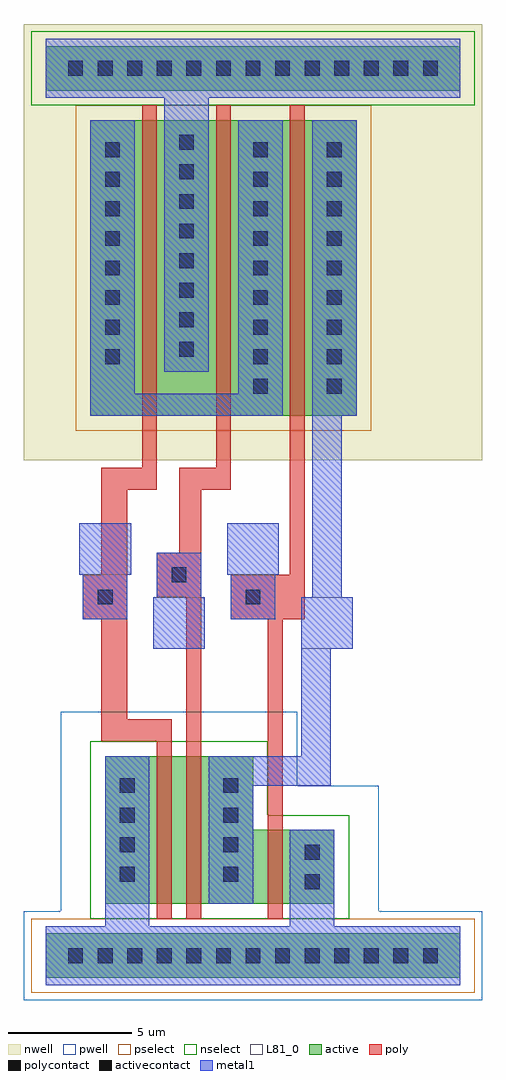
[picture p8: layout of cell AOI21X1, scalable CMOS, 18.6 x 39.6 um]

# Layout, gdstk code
import gdstk
lib = gdstk.Library(unit=1e-6, precision=1e-09)
def R(c, l, rs):  # rectangles x0, y0, x1, y1
    for r in rs: c.add(gdstk.rectangle(r[:2], r[2:], *l))
def A(c, l, x, y, w, h, nx, ny, dx, dy):  # array of equal rectangles
    R(c, l, [(x+i*dx, y+j*dy, x+i*dx+w, y+j*dy+h) for i in range(nx) for j in range(ny)])
pwell = (41, 0)
nwell = (42, 0)
active = (43, 0)
pselect = (44, 0)
nselect = (45, 0)
poly = (46, 0)
polycontact = (47, 0)
activecontact = (48, 0)
metal1 = (49, 0)
L81_0 = (81, 0)

aoi21x1 = lib.new_cell('AOI21X1')
R(aoi21x1, pwell, [(-1.8,-1.8,16.8,1.8), (-0.3,1.8,12.6,6.9), (-0.3,6.9,9.3,9.9)])
R(aoi21x1, nwell, [(-1.8,20.1,16.8,37.8)])
R(aoi21x1, active, [(-0.9,-0.9,15.9,0.9), (1.5,2.1,10.8,5.1), (1.5,5.1,7.5,8.1), (0.9,21.9,11.7,33.9), (-0.9,35.1,15.9,36.9)])
R(aoi21x1, pselect, [(-1.5,-1.5,16.5,1.5), (0.3,21.3,12.3,34.5)])
R(aoi21x1, nselect, [(0.9,1.5,11.4,5.7), (0.9,5.7,8.1,8.7), (-1.5,34.5,16.5,37.5)])
R(aoi21x1, poly, [(3.6,1.5,4.2,8.7), (4.8,1.5,5.4,14.55), (8.1,1.5,8.7,13.65), (1.35,8.7,4.2,9.6), (1.35,9.6,2.4,13.65), (0.6,13.65,2.4,15.45), (6.6,13.65,9.6,15.45), (3.6,14.55,5.4,16.35), (1.35,15.45,2.4,18.9), (9,15.45,9.6,34.5), (4.5,16.35,5.4,18.9), (1.35,18.9,3.6,19.8), (4.5,18.9,6.6,19.8), (3,19.8,3.6,34.5), (6,19.8,6.6,34.5)])
R(aoi21x1, polycontact, [(1.2,14.25,1.8,14.85), (7.2,14.25,7.8,14.85), (4.2,15.15,4.8,15.75)])
A(aoi21x1, activecontact, 0, -0.3, 0.6, 0.6, 13, 2, 1.2, 36)
A(aoi21x1, activecontact, 2.1, 3, 0.6, 0.6, 1, 4, 0, 1.2)
A(aoi21x1, activecontact, 6.3, 3, 0.6, 0.6, 1, 4, 0, 1.2)
A(aoi21x1, activecontact, 7.5, 22.8, 0.6, 0.6, 1, 9, 0, 1.2)
A(aoi21x1, activecontact, 10.5, 22.8, 0.6, 0.6, 1, 9, 0, 1.2)
A(aoi21x1, activecontact, 1.5, 24, 0.6, 0.6, 1, 8, 0, 1.2)
A(aoi21x1, activecontact, 4.5, 24.3, 0.6, 0.6, 1, 8, 0, 1.2)
R(aoi21x1, activecontact, [(9.6,2.7,10.2,3.3), (9.6,3.9,10.2,4.5)])
R(aoi21x1, metal1, [(-0.9,-1.2,15.9,1.2), (1.5,1.2,3.3,8.1), (9,1.2,10.8,5.1), (5.7,2.1,7.5,6.9), (5.7,6.9,10.65,8.1), (9.45,8.1,10.65,12.45), (3.45,12.45,5.55,14.55), (9.45,12.45,11.55,14.55), (0.6,13.65,2.4,15.45), (6.6,13.65,8.4,15.45), (3.6,14.55,5.4,16.35), (9.9,14.55,11.1,21.9), (0.45,15.45,2.55,17.55), (6.45,15.45,8.55,17.55), (0.9,21.9,8.7,22.8), (9.9,21.9,11.7,33.9), (0.9,22.8,2.7,33.9), (6.9,22.8,8.7,33.9), (3.9,23.7,5.7,34.8), (-0.9,34.8,15.9,37.2)])
R(aoi21x1, L81_0, [(3.45,12.45,5.55,14.55), (9.45,12.45,11.55,14.55), (0.45,15.45,2.55,17.55), (6.45,15.45,8.55,17.55)])

lib.write_gds('AOI21X1.gds')
